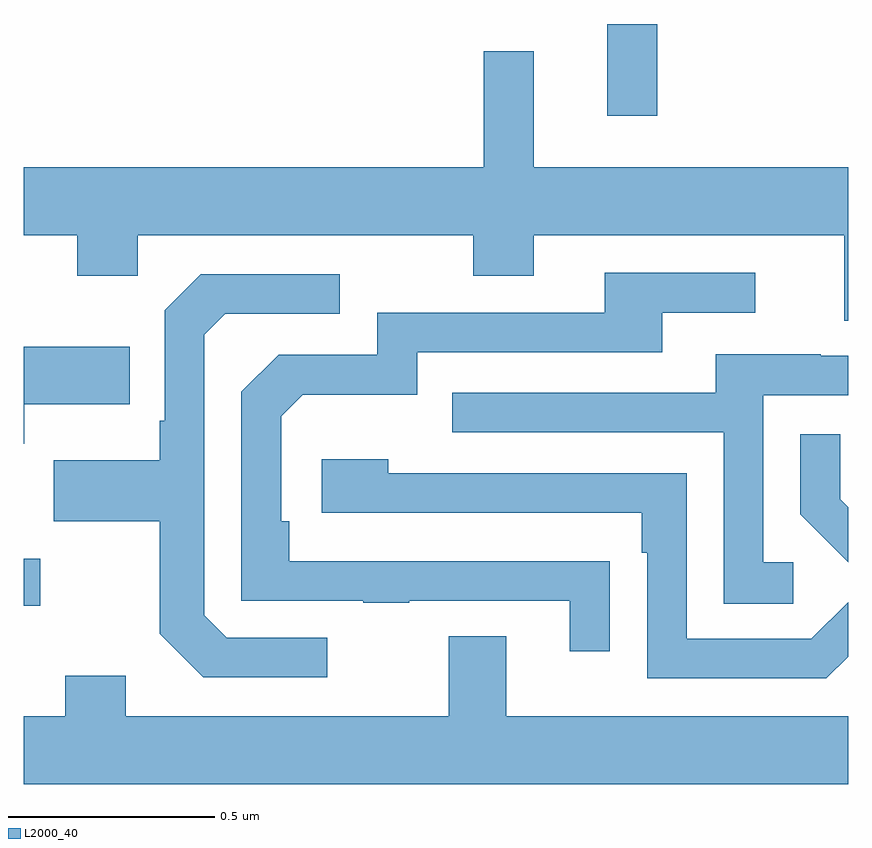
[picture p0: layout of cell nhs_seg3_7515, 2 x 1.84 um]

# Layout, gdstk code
import gdstk
lib = gdstk.Library(unit=1e-6, precision=1e-09)
def R(c, l, rs):  # rectangles x0, y0, x1, y1
    for r in rs: c.add(gdstk.rectangle(r[:2], r[2:], *l))
def P(c, l, *ps):  # polygons
    for p in ps: c.add(gdstk.Polygon(p, *l))
L2000_40 = (2000, 40)

nhs_seg3_7515 = lib.new_cell('nhs_seg3_7515')
R(nhs_seg3_7515, L2000_40, [(204,727.989,204.04,728.102), (205.415,729.177,205.537,729.4)])
P(nhs_seg3_7515, L2000_40, [(206,729.052),(205.237,729.052),(205.237,729.334),(205.116,729.334),(205.116,729.052),(204,729.052),(204,728.888),(204.13,728.888),(204.13,728.789),(204.276,728.789),(204.276,728.888),(205.09,728.888),(205.09,728.789),(205.237,728.789),(205.237,728.888),(205.991,728.888),(205.991,728.68),(206,728.68)],
  [(205.421,728.096),(205.319,728.096),(205.319,728.097),(204.644,728.097),(204.644,728.194),(204.624,728.194),(204.624,728.448),(204.677,728.501),(204.954,728.501),(204.954,728.604),(205.549,728.604),(205.549,728.7),(205.774,728.7),(205.774,728.796),(205.409,728.796),(205.409,728.7),(204.858,728.7),(204.858,728.598),(204.618,728.598),(204.528,728.508),(204.528,728.001),(204.823,728.001),(204.823,727.996),(204.935,727.996),(204.935,728.001),(205.325,728.001),(205.325,727.878),(205.421,727.878)],
  [(204.736,727.911),(204.492,727.911),(204.438,727.965),(204.438,728.646),(204.489,728.697),(204.766,728.697),(204.766,728.793),(204.429,728.793),(204.342,728.706),(204.342,728.437),(204.33,728.437),(204.33,728.341),(204.073,728.341),(204.073,728.194),(204.33,728.194),(204.33,727.921),(204.435,727.815),(204.736,727.815)],
  [(204.001,728.477),(204.257,728.477),(204.257,728.617),(204,728.617),(204,728.381),(204.001,728.381)],
  [(205.867,728.094),(205.794,728.094),(205.794,728.499),(206,728.499),(206,728.595),(205.933,728.595),(205.933,728.599),(205.679,728.599),(205.679,728.505),(205.039,728.505),(205.039,728.409),(205.698,728.409),(205.698,727.993),(205.867,727.993)],
  [(206,728.228),(205.981,728.247),(205.981,728.404),(205.884,728.404),(205.884,728.21),(206,728.094)],
  [(206,727.865),(206,727.997),(205.911,727.908),(205.608,727.908),(205.608,728.31),(204.884,728.31),(204.884,728.344),(204.723,728.344),(204.723,728.214),(205.499,728.214),(205.499,728.117),(205.512,728.117),(205.512,727.812),(205.947,727.812)],
  [(206,727.72),(205.171,727.72),(205.171,727.915),(205.031,727.915),(205.031,727.72),(204.247,727.72),(204.247,727.819),(204.1,727.819),(204.1,727.72),(204,727.72),(204,727.556),(206,727.556)])

lib.write_gds('nhs_seg3_7515.gds')
